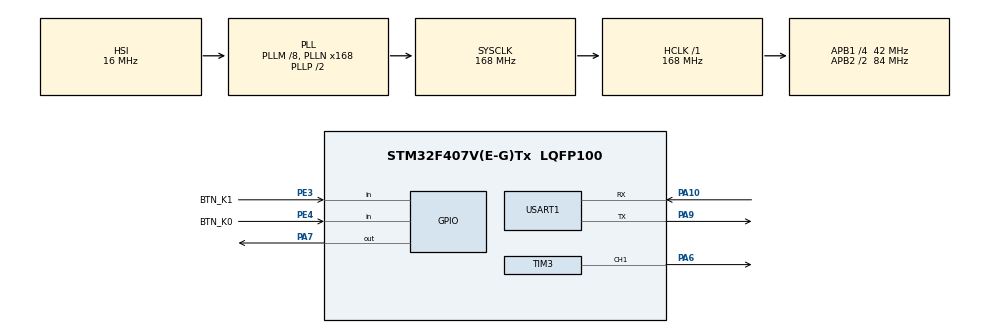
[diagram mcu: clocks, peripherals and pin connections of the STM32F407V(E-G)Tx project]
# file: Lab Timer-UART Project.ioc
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Mcu.Family=STM32F4
Mcu.Name=STM32F407V(E-G)Tx
Mcu.Package=LQFP100
NVIC.PriorityGroup=NVIC_PRIORITYGROUP_4
NVIC.TIM3_IRQn=true\:0\:0\:false\:false\:true\:true\:true\:true
NVIC.USART1_IRQn=true\:0\:0\:false\:false\:true\:true\:true\:true
PA10.Mode=Asynchronous
PA10.Signal=USART1_RX
PA6.Signal=S_TIM3_CH1
PA7.Signal=GPIO_Output
PA9.Mode=Asynchronous
PA9.Signal=USART1_TX
PE3.GPIO_Label=BTN_K1
PE3.GPIO_PuPd=GPIO_PULLUP
PE3.Signal=GPIO_Input
PE4.GPIO_Label=BTN_K0
PE4.GPIO_PuPd=GPIO_PULLUP
PE4.Signal=GPIO_Input
ProjectManager.HeapSize=0x200
ProjectManager.StackSize=0x400
ProjectManager.TargetToolchain=STM32CubeIDE
RCC.48MHZClocksFreq_Value=84000000
RCC.AHBFreq_Value=168000000
RCC.APB1CLKDivider=RCC_HCLK_DIV4
RCC.APB1Freq_Value=42000000
RCC.APB1TimFreq_Value=84000000
RCC.APB2CLKDivider=RCC_HCLK_DIV2
RCC.APB2Freq_Value=84000000
RCC.APB2TimFreq_Value=168000000
RCC.CortexFreq_Value=168000000
RCC.HCLKFreq_Value=168000000
RCC.HSE_VALUE=25000000
RCC.HSI_VALUE=16000000
RCC.LSE_VALUE=32768
RCC.PLLM=8
RCC.PLLN=168
RCC.SYSCLKFreq_VALUE=168000000
RCC.SYSCLKSource=RCC_SYSCLKSOURCE_PLLCLK
RCC.VCOOutputFreq_Value=336000000
SH.S_TIM3_CH1.0=TIM3_CH1,PWM Generation1 CH1
TIM1.Period=1000
TIM1.Prescaler=167
TIM3.Channel-PWM\ Generation1\ CH1=TIM_CHANNEL_1
TIM3.Period=2099
TIM3.Prescaler=0
TIM3.Pulse-PWM\ Generation1\ CH1=500
USART1.VirtualMode=VM_ASYNC
VP_TIM1_VS_ClockSourceINT.Mode=Internal
VP_TIM3_VS_ClockSourceINT.Mode=Internal
board=custom

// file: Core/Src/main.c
/* USER CODE BEGIN Header */
/**
  ******************************************************************************
  * @file           : main.c
  * @brief          : Main program body
  ******************************************************************************
  * @attention
  *
  * Copyright (c) 2026 STMicroelectronics.
  * All rights reserved.
  *
  * This software is licensed under terms that can be found in the LICENSE file
  * in the root directory of this software component.
  * If no LICENSE file comes with this software, it is provided AS-IS.
  *
  ******************************************************************************
  */
/* USER CODE END Header */
#include "main.h"

/* USER CODE BEGIN Includes */
#include <math.h>
#include <stdlib.h>
#include <stdio.h>
#include <string.h>
/* USER CODE END Includes */

/* USER CODE BEGIN PD */
#define LUT_SIZE        1024
#define PWM_ARR         2099
#define F_PWM           40000.0f
#define UART_BUF_SIZE   32
/* USER CODE END PD */

TIM_HandleTypeDef htim1;
TIM_HandleTypeDef htim3;

UART_HandleTypeDef huart1;

/* USER CODE BEGIN PV */
uint16_t lut_senoide[LUT_SIZE];
volatile uint32_t phase_acc = 0;
volatile uint32_t tuning_word = 0;

uint8_t rx_byte;
char rx_buffer[UART_BUF_SIZE];
volatile uint8_t rx_index = 0;
volatile uint8_t nova_freq_pronta = 0;
/* USER CODE END PV */

void SystemClock_Config(void);
static void MX_GPIO_Init(void);
static void MX_USART1_UART_Init(void);
static void MX_TIM1_Init(void);
static void MX_TIM3_Init(void);
/* USER CODE BEGIN PFP */
void Gerar_LUT_Senoide(void);
void Set_Frequencia_Senoide(float freq_hz);
/* USER CODE END PFP */

int main(void)
{

  /* MCU Configuration--------------------------------------------------------*/

  /* Reset of all peripherals, Initializes the Flash interface and the Systick. */
  HAL_Init();

  /* Configure the system clock */
  SystemClock_Config();

  /* Initialize all configured peripherals */
  MX_GPIO_Init();
  MX_USART1_UART_Init();
  MX_TIM1_Init();
  MX_TIM3_Init();
  /* USER CODE BEGIN 2 */
  Gerar_LUT_Senoide();
  Set_Frequencia_Senoide(60.0f); // Frequência inicial padrão

  // Inicia o PWM e a interrupção do Timer 3
  HAL_TIM_PWM_Start(&htim3, TIM_CHANNEL_1);
  HAL_TIM_Base_Start_IT(&htim3);

  // Inicia a escuta da UART1 byte a byte por interrupção
  HAL_UART_Receive_IT(&huart1, &rx_byte, 1);

  char msg_inicio[] = "\r\nGerador DDS Pronto! Digite a frequencia (Hz) e pressione Enter:\r\n";
  HAL_UART_Transmit(&huart1, (uint8_t*)msg_inicio, strlen(msg_inicio), 100);
  /* USER CODE END 2 */

  /* Infinite loop */
  /* USER CODE BEGIN WHILE */
  while (1)
  {
    if (nova_freq_pronta) {
      nova_freq_pronta = 0;

      char *endptr;
      float nova_freq = strtof(rx_buffer, &endptr);

      if (endptr != rx_buffer && nova_freq >= 1.0f && nova_freq <= 5000.0f) {
        Set_Frequencia_Senoide(nova_freq);

        char resp[64];
        int len = snprintf(resp, sizeof(resp), "Frequencia ajustada para: %d Hz\r\n", (int)nova_freq);
        HAL_UART_Transmit(&huart1, (uint8_t*)resp, len, 100);
      } else {
        char err[] = "Valor invalido! Digite um numero entre 1 e 5000 Hz.\r\n";
        HAL_UART_Transmit(&huart1, (uint8_t*)err, strlen(err), 100);
      }
    }
    /* USER CODE END WHILE */

  }
}

void SystemClock_Config(void)
{
  RCC_OscInitTypeDef RCC_OscInitStruct = {0};
  RCC_ClkInitTypeDef RCC_ClkInitStruct = {0};

  /** Configure the main internal regulator output voltage
  */
  __HAL_RCC_PWR_CLK_ENABLE();
  __HAL_PWR_VOLTAGESCALING_CONFIG(PWR_REGULATOR_VOLTAGE_SCALE1);

  /** Initializes the RCC Oscillators according to the specified parameters
  * in the RCC_OscInitTypeDef structure.
  */
  RCC_OscInitStruct.OscillatorType = RCC_OSCILLATORTYPE_HSI;
  RCC_OscInitStruct.HSIState = RCC_HSI_ON;
  RCC_OscInitStruct.HSICalibrationValue = RCC_HSICALIBRATION_DEFAULT;
  RCC_OscInitStruct.PLL.PLLState = RCC_PLL_ON;
  RCC_OscInitStruct.PLL.PLLSource = RCC_PLLSOURCE_HSI;
  RCC_OscInitStruct.PLL.PLLM = 8;
  RCC_OscInitStruct.PLL.PLLN = 168;
  RCC_OscInitStruct.PLL.PLLP = RCC_PLLP_DIV2;
  RCC_OscInitStruct.PLL.PLLQ = 4;
  if (HAL_RCC_OscConfig(&RCC_OscInitStruct) != HAL_OK)
  {
    Error_Handler();
  }

  /** Initializes the CPU, AHB and APB buses clocks
  */
  RCC_ClkInitStruct.ClockType = RCC_CLOCKTYPE_HCLK|RCC_CLOCKTYPE_SYSCLK
                              |RCC_CLOCKTYPE_PCLK1|RCC_CLOCKTYPE_PCLK2;
  RCC_ClkInitStruct.SYSCLKSource = RCC_SYSCLKSOURCE_PLLCLK;
  RCC_ClkInitStruct.AHBCLKDivider = RCC_SYSCLK_DIV1;
  RCC_ClkInitStruct.APB1CLKDivider = RCC_HCLK_DIV4;
  RCC_ClkInitStruct.APB2CLKDivider = RCC_HCLK_DIV2;

  if (HAL_RCC_ClockConfig(&RCC_ClkInitStruct, FLASH_LATENCY_5) != HAL_OK)
  {
    Error_Handler();
  }
}

static void MX_TIM1_Init(void)
{

  TIM_ClockConfigTypeDef sClockSourceConfig = {0};
  TIM_MasterConfigTypeDef sMasterConfig = {0};

  htim1.Instance = TIM1;
  htim1.Init.Prescaler = 167;
  htim1.Init.CounterMode = TIM_COUNTERMODE_UP;
  htim1.Init.Period = 1000;
  htim1.Init.ClockDivision = TIM_CLOCKDIVISION_DIV1;
  htim1.Init.RepetitionCounter = 0;
  htim1.Init.AutoReloadPreload = TIM_AUTORELOAD_PRELOAD_DISABLE;
  if (HAL_TIM_Base_Init(&htim1) != HAL_OK)
  {
    Error_Handler();
  }
  sClockSourceConfig.ClockSource = TIM_CLOCKSOURCE_INTERNAL;
  if (HAL_TIM_ConfigClockSource(&htim1, &sClockSourceConfig) != HAL_OK)
  {
    Error_Handler();
  }
  sMasterConfig.MasterOutputTrigger = TIM_TRGO_RESET;
  sMasterConfig.MasterSlaveMode = TIM_MASTERSLAVEMODE_DISABLE;
  if (HAL_TIMEx_MasterConfigSynchronization(&htim1, &sMasterConfig) != HAL_OK)
  {
    Error_Handler();
  }

}

static void MX_TIM3_Init(void)
{

  TIM_ClockConfigTypeDef sClockSourceConfig = {0};
  TIM_MasterConfigTypeDef sMasterConfig = {0};
  TIM_OC_InitTypeDef sConfigOC = {0};

  htim3.Instance = TIM3;
  htim3.Init.Prescaler = 0;
  htim3.Init.CounterMode = TIM_COUNTERMODE_UP;
  htim3.Init.Period = 2099;
  htim3.Init.ClockDivision = TIM_CLOCKDIVISION_DIV1;
  htim3.Init.AutoReloadPreload = TIM_AUTORELOAD_PRELOAD_DISABLE;
  if (HAL_TIM_Base_Init(&htim3) != HAL_OK)
  {
    Error_Handler();
  }
  sClockSourceConfig.ClockSource = TIM_CLOCKSOURCE_INTERNAL;
  if (HAL_TIM_ConfigClockSource(&htim3, &sClockSourceConfig) != HAL_OK)
  {
    Error_Handler();
  }
  if (HAL_TIM_PWM_Init(&htim3) != HAL_OK)
  {
    Error_Handler();
  }
  sMasterConfig.MasterOutputTrigger = TIM_TRGO_RESET;
  sMasterConfig.MasterSlaveMode = TIM_MASTERSLAVEMODE_DISABLE;
  if (HAL_TIMEx_MasterConfigSynchronization(&htim3, &sMasterConfig) != HAL_OK)
  {
    Error_Handler();
  }
  sConfigOC.OCMode = TIM_OCMODE_PWM1;
  sConfigOC.Pulse = 500;
  sConfigOC.OCPolarity = TIM_OCPOLARITY_HIGH;
  sConfigOC.OCFastMode = TIM_OCFAST_DISABLE;
  if (HAL_TIM_PWM_ConfigChannel(&htim3, &sConfigOC, TIM_CHANNEL_1) != HAL_OK)
  {
    Error_Handler();
  }
  HAL_TIM_MspPostInit(&htim3);

}

static void MX_USART1_UART_Init(void)
{

  huart1.Instance = USART1;
  huart1.Init.BaudRate = 115200;
  huart1.Init.WordLength = UART_WORDLENGTH_8B;
  huart1.Init.StopBits = UART_STOPBITS_1;
  huart1.Init.Parity = UART_PARITY_NONE;
  huart1.Init.Mode = UART_MODE_TX_RX;
  huart1.Init.HwFlowCtl = UART_HWCONTROL_NONE;
  huart1.Init.OverSampling = UART_OVERSAMPLING_16;
  if (HAL_UART_Init(&huart1) != HAL_OK)
  {
    Error_Handler();
  }

}

static void MX_GPIO_Init(void)
{
  GPIO_InitTypeDef GPIO_InitStruct = {0};

  /* GPIO Ports Clock Enable */
  __HAL_RCC_GPIOE_CLK_ENABLE();
  __HAL_RCC_GPIOA_CLK_ENABLE();

  /*Configure GPIO pin Output Level */
  HAL_GPIO_WritePin(GPIOA, GPIO_PIN_7, GPIO_PIN_RESET);

  /*Configure GPIO pins : BTN_K1_Pin BTN_K0_Pin */
  GPIO_InitStruct.Pin = BTN_K1_Pin|BTN_K0_Pin;
  GPIO_InitStruct.Mode = GPIO_MODE_INPUT;
  GPIO_InitStruct.Pull = GPIO_PULLUP;
  HAL_GPIO_Init(GPIOE, &GPIO_InitStruct);

  /*Configure GPIO pin : PA7 */
  GPIO_InitStruct.Pin = GPIO_PIN_7;
  GPIO_InitStruct.Mode = GPIO_MODE_OUTPUT_PP;
  GPIO_InitStruct.Pull = GPIO_NOPULL;
  GPIO_InitStruct.Speed = GPIO_SPEED_FREQ_LOW;
  HAL_GPIO_Init(GPIOA, &GPIO_InitStruct);

}

/* USER CODE BEGIN 4 */
void Gerar_LUT_Senoide(void) {
    float amplitude = PWM_ARR / 2.0f;
    for (int i = 0; i < LUT_SIZE; i++) {
        float valor = amplitude * (1.0f + sinf(2.0f * (float)M_PI * i / LUT_SIZE));
        lut_senoide[i] = (uint16_t)(valor + 0.5f);
    }
}

void Set_Frequencia_Senoide(float freq_hz) {
    // Calcula o passo do acumulador de 32 bits: M = (freq * 2^32) / F_PWM
    tuning_word = (uint32_t)((freq_hz * 4294967296.0f) / F_PWM);
}

// Esta função é chamada automaticamente a cada 25 us (40 kHz) pelo hardware
void HAL_TIM_PeriodElapsedCallback(TIM_HandleTypeDef *htim) {
    if (htim->Instance == TIM3) {
        phase_acc += tuning_word;

        // Como LUT_SIZE = 1024 (2^10), pegamos os 10 bits mais altos (32 - 10 = 22)
        uint16_t index = phase_acc >> 22;

        TIM3->CCR1 = lut_senoide[index];
    }
}

// Interrupção da UART1 - Chamada a cada caractere recebido
void HAL_UART_RxCpltCallback(UART_HandleTypeDef *huart) {
  if (huart->Instance == USART1) {
    if (rx_byte == '\r' || rx_byte == '\n') {
      if (rx_index > 0) {
        rx_buffer[rx_index] = '\0';
        rx_index = 0;
        nova_freq_pronta = 1;
      }
    }
    else if (rx_index < (UART_BUF_SIZE - 1)) {
      if (rx_byte == ',') rx_byte = '.';
      rx_buffer[rx_index++] = (char)rx_byte;
    }

    // Reativa a escuta do próximo byte
    HAL_UART_Receive_IT(&huart1, &rx_byte, 1);
  }
}
/* USER CODE END 4 */

void Error_Handler(void)
{
  __disable_irq();
  while (1)
  {
  }
}
